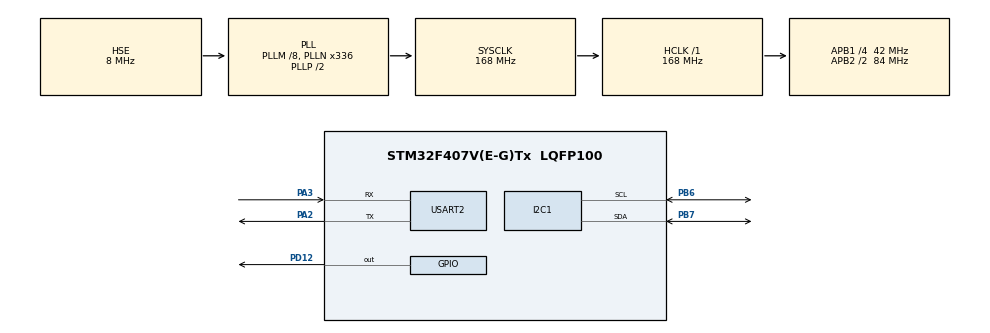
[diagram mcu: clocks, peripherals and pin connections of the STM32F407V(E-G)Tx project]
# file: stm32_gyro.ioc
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I2C1.I2C_Mode=I2C_Fast
Mcu.Family=STM32F4
Mcu.Name=STM32F407V(E-G)Tx
Mcu.Package=LQFP100
NVIC.PriorityGroup=NVIC_PRIORITYGROUP_0
PA13.Mode=Serial_Wire
PA13.Signal=SYS_JTMS-SWDIO
PA14.Mode=Serial_Wire
PA14.Signal=SYS_JTCK-SWCLK
PA2.Mode=Asynchronous
PA2.Signal=USART2_TX
PA3.Mode=Asynchronous
PA3.Signal=USART2_RX
PB6.Mode=I2C
PB6.Signal=I2C1_SCL
PB7.Mode=I2C
PB7.Signal=I2C1_SDA
PD12.Signal=GPIO_Output
PH0-OSC_IN.Mode=HSE-External-Oscillator
PH0-OSC_IN.Signal=RCC_OSC_IN
PH1-OSC_OUT.Mode=HSE-External-Oscillator
PH1-OSC_OUT.Signal=RCC_OSC_OUT
ProjectManager.HeapSize=0x200
ProjectManager.StackSize=0x400
ProjectManager.TargetToolchain=STM32CubeIDE
RCC.48MHZClocksFreq_Value=48000000
RCC.AHBFreq_Value=168000000
RCC.APB1CLKDivider=RCC_HCLK_DIV4
RCC.APB1Freq_Value=42000000
RCC.APB1TimFreq_Value=84000000
RCC.APB2CLKDivider=RCC_HCLK_DIV2
RCC.APB2Freq_Value=84000000
RCC.APB2TimFreq_Value=168000000
RCC.CortexFreq_Value=168000000
RCC.HCLKFreq_Value=168000000
RCC.HSE_VALUE=8000000
RCC.HSI_VALUE=16000000
RCC.PLLM=8
RCC.PLLN=336
RCC.PLLQ=7
RCC.PLLSourceVirtual=RCC_PLLSOURCE_HSE
RCC.SYSCLKFreq_VALUE=168000000
RCC.SYSCLKSource=RCC_SYSCLKSOURCE_PLLCLK
RCC.VCOOutputFreq_Value=336000000
USART2.VirtualMode=VM_ASYNC
board=STM32F407G-DISC1

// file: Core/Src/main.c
/* USER CODE BEGIN Header */
/**
  ******************************************************************************
  * @file           : main.c
  * @brief          : Main program body
  ******************************************************************************
  * @attention
  *
  * Copyright (c) 2025 STMicroelectronics.
  * All rights reserved.
  *
  * This software is licensed under terms that can be found in the LICENSE file
  * in the root directory of this software component.
  * If no LICENSE file comes with this software, it is provided AS-IS.
  *
  ******************************************************************************
  */
/* USER CODE END Header */
#include "main.h"

/* USER CODE BEGIN Includes */
#include "mpu60x0.h"
#include <math.h>
/* USER CODE END Includes */

UART_HandleTypeDef huart2;
I2C_HandleTypeDef hi2c1;

void SystemClock_Config(void);
static void MX_GPIO_Init(void);
static void MX_USART2_UART_Init(void);
static void MX_I2C1_Init(void);

int main(void)
{

  /* MCU Configuration--------------------------------------------------------*/

  /* Reset of all peripherals, Initializes the Flash interface and the Systick. */
  HAL_Init();

  /* Configure the system clock */
  SystemClock_Config();

  /* Initialize all configured peripherals */
  MX_GPIO_Init();
  MX_USART2_UART_Init();
  MX_I2C1_Init();
  /* USER CODE BEGIN 2 */
  MPU6050_Data_t mpu_data;
  char msg[128];
  if (MPU6050_Init(&hi2c1) != HAL_OK) {
    strcpy(msg, "MPU6050 init failed!\r\n");
    HAL_UART_Transmit(&huart2, (uint8_t*)msg, strlen(msg), 100);
    while (1);
  }
  strcpy(msg, "MPU6050 init OK\r\n");
  HAL_UART_Transmit(&huart2, (uint8_t*)msg, strlen(msg), 100);
  /* USER CODE END 2 */

  /* Infinite loop */
  while (1)
  {
    /* USER CODE BEGIN 3 */
    if (MPU6050_Read_All(&hi2c1, &mpu_data) == HAL_OK) {
      snprintf(msg, sizeof(msg),
        "AX:%6d AY:%6d AZ:%6d | GX:%6d GY:%6d GZ:%6d\r\n",
        mpu_data.accel_x, mpu_data.accel_y, mpu_data.accel_z,
        mpu_data.gyro_x, mpu_data.gyro_y, mpu_data.gyro_z);
      HAL_UART_Transmit(&huart2, (uint8_t*)msg, strlen(msg), 100);
    } else {
      strcpy(msg, "MPU6050 read error!\r\n");
      HAL_UART_Transmit(&huart2, (uint8_t*)msg, strlen(msg), 100);
    }
    HAL_GPIO_TogglePin(GPIOD, GPIO_PIN_12);
    HAL_Delay(200);
    /* USER CODE END 3 */
  }
  /* USER CODE END 3 */
}

void SystemClock_Config(void)
{
  RCC_OscInitTypeDef RCC_OscInitStruct = {0};
  RCC_ClkInitTypeDef RCC_ClkInitStruct = {0};

  /** Configure the main internal regulator output voltage
  */
  __HAL_RCC_PWR_CLK_ENABLE();
  __HAL_PWR_VOLTAGESCALING_CONFIG(PWR_REGULATOR_VOLTAGE_SCALE1);

  /** Initializes the RCC Oscillators according to the specified parameters
  * in the RCC_OscInitTypeDef structure.
  */
  RCC_OscInitStruct.OscillatorType = RCC_OSCILLATORTYPE_HSE;
  RCC_OscInitStruct.HSEState = RCC_HSE_ON;
  RCC_OscInitStruct.PLL.PLLState = RCC_PLL_ON;
  RCC_OscInitStruct.PLL.PLLSource = RCC_PLLSOURCE_HSE;
  RCC_OscInitStruct.PLL.PLLM = 8;
  RCC_OscInitStruct.PLL.PLLN = 336;
  RCC_OscInitStruct.PLL.PLLP = RCC_PLLP_DIV2;
  RCC_OscInitStruct.PLL.PLLQ = 7;
  if (HAL_RCC_OscConfig(&RCC_OscInitStruct) != HAL_OK)
  {
    Error_Handler();
  }

  /** Initializes the CPU, AHB and APB buses clocks
  */
  RCC_ClkInitStruct.ClockType = RCC_CLOCKTYPE_HCLK|RCC_CLOCKTYPE_SYSCLK
                              |RCC_CLOCKTYPE_PCLK1|RCC_CLOCKTYPE_PCLK2;
  RCC_ClkInitStruct.SYSCLKSource = RCC_SYSCLKSOURCE_PLLCLK;
  RCC_ClkInitStruct.AHBCLKDivider = RCC_SYSCLK_DIV1;
  RCC_ClkInitStruct.APB1CLKDivider = RCC_HCLK_DIV4;
  RCC_ClkInitStruct.APB2CLKDivider = RCC_HCLK_DIV2;

  if (HAL_RCC_ClockConfig(&RCC_ClkInitStruct, FLASH_LATENCY_5) != HAL_OK)
  {
    Error_Handler();
  }
}

static void MX_USART2_UART_Init(void)
{

  huart2.Instance = USART2;
  huart2.Init.BaudRate = 115200;
  huart2.Init.WordLength = UART_WORDLENGTH_8B;
  huart2.Init.StopBits = UART_STOPBITS_1;
  huart2.Init.Parity = UART_PARITY_NONE;
  huart2.Init.Mode = UART_MODE_TX_RX;
  huart2.Init.HwFlowCtl = UART_HWCONTROL_NONE;
  huart2.Init.OverSampling = UART_OVERSAMPLING_16;
  if (HAL_UART_Init(&huart2) != HAL_OK)
  {
    Error_Handler();
  }

}

static void MX_GPIO_Init(void)
{
  GPIO_InitTypeDef GPIO_InitStruct = {0};

  /* GPIO Ports Clock Enable */
  __HAL_RCC_GPIOH_CLK_ENABLE();
  __HAL_RCC_GPIOA_CLK_ENABLE();
  __HAL_RCC_GPIOD_CLK_ENABLE();

  /*Configure GPIO pin Output Level */
  HAL_GPIO_WritePin(GPIOD, GPIO_PIN_12, GPIO_PIN_RESET);

  /*Configure GPIO pin : PD12 */
  GPIO_InitStruct.Pin = GPIO_PIN_12;
  GPIO_InitStruct.Mode = GPIO_MODE_OUTPUT_PP;
  GPIO_InitStruct.Pull = GPIO_NOPULL;
  GPIO_InitStruct.Speed = GPIO_SPEED_FREQ_LOW;
  HAL_GPIO_Init(GPIOD, &GPIO_InitStruct);

}

/* USER CODE BEGIN 4 */
static void MX_I2C1_Init(void)
{
  hi2c1.Instance = I2C1;
  hi2c1.Init.ClockSpeed = 400000;
  hi2c1.Init.DutyCycle = I2C_DUTYCYCLE_2;
  hi2c1.Init.OwnAddress1 = 0;
  hi2c1.Init.AddressingMode = I2C_ADDRESSINGMODE_7BIT;
  hi2c1.Init.DualAddressMode = I2C_DUALADDRESS_DISABLE;
  hi2c1.Init.OwnAddress2 = 0;
  hi2c1.Init.GeneralCallMode = I2C_GENERALCALL_DISABLE;
  hi2c1.Init.NoStretchMode = I2C_NOSTRETCH_DISABLE;
  if (HAL_I2C_Init(&hi2c1) != HAL_OK)
  {
    Error_Handler();
  }
}
/* USER CODE END 4 */

void Error_Handler(void)
{
  __disable_irq();
  while (1)
  {
  }
}
